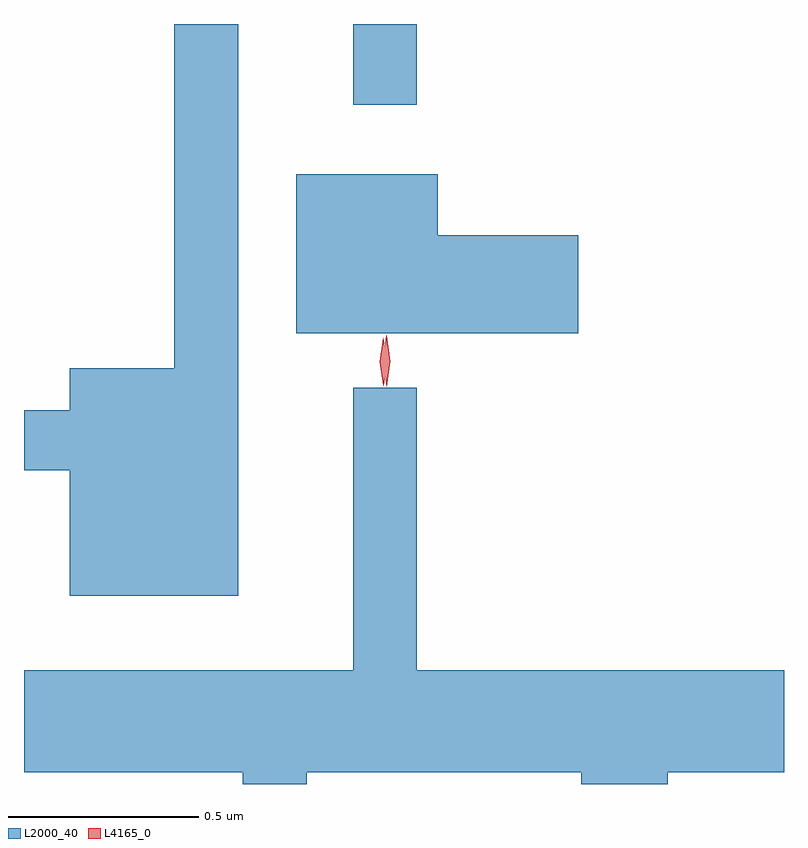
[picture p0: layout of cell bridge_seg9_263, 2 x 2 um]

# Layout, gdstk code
import gdstk
lib = gdstk.Library(unit=1e-6, precision=1e-09)
def R(c, l, rs):  # rectangles x0, y0, x1, y1
    for r in rs: c.add(gdstk.rectangle(r[:2], r[2:], *l))
def P(c, l, *ps):  # polygons
    for p in ps: c.add(gdstk.Polygon(p, *l))
L2000_40 = (2000, 40)
L4165_0 = (4165, 0)

bridge_seg9_263 = lib.new_cell('bridge_seg9_263')
R(bridge_seg9_263, L2000_40, [(1324.161,1951.393,1324.329,1951.605)])
P(bridge_seg9_263, L2000_40, [(1323.859,1951.605),(1323.691,1951.605),(1323.691,1950.699),(1323.416,1950.699),(1323.416,1950.589),(1323.295,1950.589),(1323.295,1950.431),(1323.416,1950.431),(1323.416,1950.101),(1323.859,1950.101)],
  [(1324.754,1951.049),(1324.384,1951.049),(1324.384,1951.209),(1324.011,1951.209),(1324.011,1950.791),(1324.754,1950.791)],
  [(1324.039,1949.636),(1324.761,1949.636),(1324.761,1949.605),(1324.989,1949.605),(1324.989,1949.636),(1325.295,1949.636),(1325.295,1949.904),(1324.329,1949.904),(1324.329,1950.648),(1324.161,1950.648),(1324.161,1949.904),(1323.295,1949.904),(1323.295,1949.636),(1323.871,1949.636),(1323.871,1949.605),(1324.039,1949.605)])
P(bridge_seg9_263, L4165_0, [(1324.241,1950.653),(1324.241,1950.654),(1324.231,1950.716),(1324.24,1950.779),(1324.24,1950.78),(1324.241,1950.779),(1324.251,1950.716),(1324.242,1950.654)],
  [(1324.249,1950.65),(1324.24,1950.718),(1324.248,1950.785),(1324.249,1950.786),(1324.25,1950.785),(1324.259,1950.718),(1324.25,1950.65),(1324.25,1950.65)])

lib.write_gds('bridge_seg9_263.gds')
